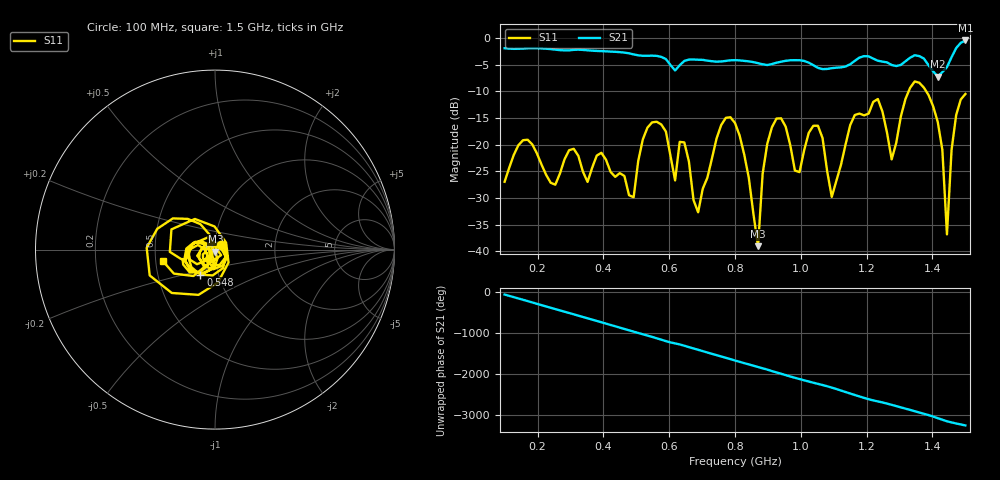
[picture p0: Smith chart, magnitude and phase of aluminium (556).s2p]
! NanoVNA-App
! Date: 2025-09-25 14:59:36
! Start: 100MHz Stop: 1,5GHz Points: 101
! S-Parameter data: F S11 S21 S12 S22
# Hz S RI R 50
!  Frequency  S11_Real  S11_Imag  S21_Real  S21_Imag  S12_Real  S12_Imag  S22_Real  S22_Imag
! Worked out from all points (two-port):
!   101 points, 100 MHz to 1.5 GHz, reference 50 ohm
!   highest |S21| = -0.46 dB at 1.5 GHz (marker M1); lowest = -7.3 dB at 1.416 GHz (marker M2)
!   |S21| within 3 dB of the highest: start of sweep to 570.2 MHz; 1.459 GHz to end of sweep (the widest 2 of 4)
!   lowest |S11| = -39.0 dB at 870 MHz (marker M3), VSWR 1.02, Z = 50.2 - j1.09 ohm
!   |S11| at or under -10 dB: start of sweep to 1.328 GHz; 1.381 GHz to end of sweep
!   S12 and S22 are empty: the file has one direction only
!   S11 on the Smith chart (normalised r, x): 100 MHz: 1.07, +0.06; 548 MHz: 0.82, -0.23; 1.5 GHz: 0.54, -0.07
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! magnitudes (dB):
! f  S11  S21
! 100 MHz  -27.0  -1.9
! 156 MHz  -19.2  -2.0
! 338 MHz  -25.1  -2.2
! 492 MHz  -29.9  -3.1
! 548 MHz  -15.8  -3.3
! 576 MHz  -16.2  -3.5
! 618 MHz  -26.7  -6.1
! 646 MHz  -19.6  -4.3
! 688 MHz  -32.7  -4.1
! 800 MHz  -15.9  -4.2
! 870 MHz  -39.0  -4.7
! 912 MHz  -16.8  -4.9
! 996 MHz  -25.2  -4.2
! 1.038 GHz  -16.5  -5.1
! 1.094 GHz  -29.8  -5.7
! 1.22 GHz  -12.0  -3.9
! 1.276 GHz  -22.8  -5.1
! 1.346 GHz  -8.1  -3.2
! 1.416 GHz  -15.7  -7.3
! 1.444 GHz  -36.8  -5.5
! 1.458 GHz  -21.0  -3.6
! 1.5 GHz  -10.5  -0.5
